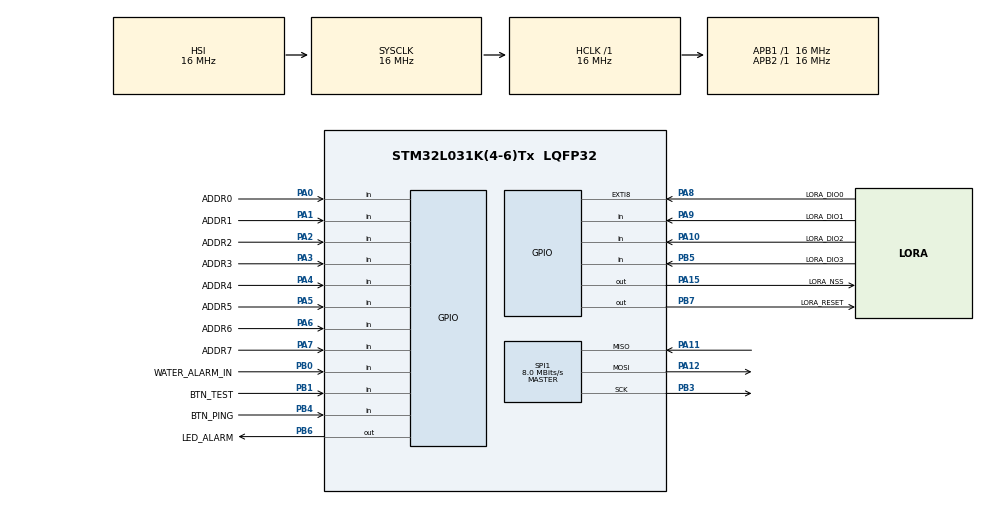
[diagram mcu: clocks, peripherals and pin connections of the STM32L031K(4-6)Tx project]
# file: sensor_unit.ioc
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Mcu.Family=STM32L0
Mcu.Name=STM32L031K(4-6)Tx
Mcu.Package=LQFP32
NVIC.EXTI4_15_IRQn=true\:0\:0\:false\:false\:true\:true\:true\:true
PA0-CK_IN.GPIO_Label=ADDR0
PA0-CK_IN.GPIO_PuPd=GPIO_PULLUP
PA0-CK_IN.Signal=GPIO_Input
PA1.GPIO_Label=ADDR1
PA1.GPIO_PuPd=GPIO_PULLUP
PA1.Signal=GPIO_Input
PA10.GPIO_Label=LORA_DIO2
PA10.Signal=GPIO_Input
PA11.GPIO_PuPd=GPIO_PULLUP
PA11.GPIO_Speed=GPIO_SPEED_FREQ_HIGH
PA11.Mode=Full_Duplex_Master
PA11.Signal=SPI1_MISO
PA12.GPIO_Speed=GPIO_SPEED_FREQ_HIGH
PA12.Mode=Full_Duplex_Master
PA12.Signal=SPI1_MOSI
PA13.Mode=Serial_Wire
PA13.Signal=SYS_SWDIO
PA14.Mode=Serial_Wire
PA14.Signal=SYS_SWCLK
PA15.GPIO_Label=LORA_NSS
PA15.GPIO_PuPd=GPIO_PULLUP
PA15.PinState=GPIO_PIN_SET
PA15.Signal=GPIO_Output
PA2.GPIO_Label=ADDR2
PA2.GPIO_PuPd=GPIO_PULLUP
PA2.Signal=GPIO_Input
PA3.GPIO_Label=ADDR3
PA3.GPIO_PuPd=GPIO_PULLUP
PA3.Signal=GPIO_Input
PA4.GPIO_Label=ADDR4
PA4.GPIO_PuPd=GPIO_PULLUP
PA4.Signal=GPIO_Input
PA5.GPIO_Label=ADDR5
PA5.GPIO_PuPd=GPIO_PULLUP
PA5.Signal=GPIO_Input
PA6.GPIO_Label=ADDR6
PA6.GPIO_PuPd=GPIO_PULLUP
PA6.Signal=GPIO_Input
PA7.GPIO_Label=ADDR7
PA7.GPIO_PuPd=GPIO_PULLUP
PA7.Signal=GPIO_Input
PA8.GPIO_Label=LORA_DIO0
PA8.Signal=GPXTI8
PA9.GPIO_Label=LORA_DIO1
PA9.Signal=GPIO_Input
PB0.GPIO_Label=WATER_ALARM_IN
PB0.Signal=GPIO_Input
PB1.GPIO_Label=BTN_TEST
PB1.GPIO_PuPd=GPIO_PULLUP
PB1.Signal=GPIO_Input
PB3.GPIO_Speed=GPIO_SPEED_FREQ_HIGH
PB3.Mode=Full_Duplex_Master
PB3.Signal=SPI1_SCK
PB4.GPIO_Label=BTN_PING
PB4.GPIO_PuPd=GPIO_PULLUP
PB4.Signal=GPIO_Input
PB5.GPIO_Label=LORA_DIO3
PB5.Signal=GPIO_Input
PB6.GPIO_Label=LED_ALARM
PB6.Signal=GPIO_Output
PB7.GPIO_Label=LORA_RESET
PB7.PinState=GPIO_PIN_SET
PB7.Signal=GPIO_Output
PC14-OSC32_IN.Mode=LSE-External-Oscillator
PC14-OSC32_IN.Signal=RCC_OSC32_IN
PC15-OSC32_OUT.Mode=LSE-External-Oscillator
PC15-OSC32_OUT.Signal=RCC_OSC32_OUT
ProjectManager.HeapSize=0x200
ProjectManager.StackSize=0x400
ProjectManager.TargetToolchain=STM32CubeIDE
RCC.AHBFreq_Value=16000000
RCC.APB1Freq_Value=16000000
RCC.APB1TimFreq_Value=16000000
RCC.APB2Freq_Value=16000000
RCC.APB2TimFreq_Value=16000000
RCC.HCLKFreq_Value=16000000
RCC.HSE_VALUE=8000000
RCC.HSI16_VALUE=16000000
RCC.HSI_VALUE=16000000
RCC.LptimClockSelection=RCC_LPTIM1CLKSOURCE_LSE
RCC.MSI_VALUE=2097000
RCC.PLLMUL=RCC_PLLMUL_8
RCC.SYSCLKFreq_VALUE=16000000
RCC.SYSCLKSource=RCC_SYSCLKSOURCE_HSI
RCC.VCOOutputFreq_Value=128000000
SPI1.CalculateBaudRate=8.0 MBits/s
SPI1.Direction=SPI_DIRECTION_2LINES
SPI1.Mode=SPI_MODE_MASTER
SPI1.VirtualType=VM_MASTER
VP_ADC_Vref_Input.Mode=IN-Vrefint
VP_LPTIM1_VS_LPTIM_counterModeInternalClock.Mode=Counts__internal_clock_event_00
board=custom

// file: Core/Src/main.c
/* USER CODE BEGIN Header */
/**
  ******************************************************************************
  * @file           : main.c
  * @brief          : Main program body
  ******************************************************************************
  * @attention
  *
  * Copyright (c) 2024 STMicroelectronics.
  * All rights reserved.
  *
  * This software is licensed under terms that can be found in the LICENSE file
  * in the root directory of this software component.
  * If no LICENSE file comes with this software, it is provided AS-IS.
  *
  ******************************************************************************
  */
/* USER CODE END Header */
#include "main.h"
#include "adc.h"
#include "lptim.h"
#include "spi.h"
#include "gpio.h"

/* USER CODE BEGIN Includes */
#include <stdio.h>
#include "SX1278.h"
/* USER CODE END Includes */

/* USER CODE BEGIN PV */
SX1278_hw_t SX1278_hw;
SX1278_t SX1278;

uint8_t master = 1;
int ret;

char buffer[512];

int message;
int message_length;
/* USER CODE END PV */

void SystemClock_Config(void);

int main(void)
{

  /* MCU Configuration--------------------------------------------------------*/

  /* Reset of all peripherals, Initializes the Flash interface and the Systick. */
  HAL_Init();

  /* Configure the system clock */
  SystemClock_Config();

  /* Initialize all configured peripherals */
  MX_GPIO_Init();
  MX_ADC_Init();
  MX_LPTIM1_Init();
  MX_SPI1_Init();
  /* USER CODE BEGIN 2 */
  //initialize LoRa module
  SX1278_hw.dio0.port = LORA_DIO0_GPIO_Port;
  SX1278_hw.dio0.pin = LORA_DIO0_Pin;
  SX1278_hw.nss.port = LORA_NSS_GPIO_Port;
  SX1278_hw.nss.pin = LORA_NSS_Pin;
  SX1278_hw.reset.port = LORA_RESET_GPIO_Port;
  SX1278_hw.reset.pin = LORA_RESET_Pin;
  SX1278_hw.spi = &hspi1;

  SX1278.hw = &SX1278_hw;

  printf("Configuring LoRa module\r\n");
  SX1278_init(&SX1278, SX1278_FREQ_433MHz, SX1278_POWER_20DBM, SX1278_LORA_SF_7,
              SX1278_LORA_BW_125KHZ, SX1278_LORA_CR_4_5, SX1278_LORA_CRC_DIS, 8, SX127X_SYNC_WORD);
  printf("Done configuring LoRaModule\r\n");

  if (master == 1)
  {
    SX1278_LoRaEntryTx(&SX1278, 16, 2000);
  }
  else
  {
    SX1278_LoRaEntryRx(&SX1278, 16, 2000);
  }
  /* USER CODE END 2 */

  /* Infinite loop */
  /* USER CODE BEGIN WHILE */
  while (1)
  {
    HAL_GPIO_TogglePin(LED_ALARM_GPIO_Port, LED_ALARM_Pin);
    HAL_Delay(1000);

    if (master == 1)
    {
      printf("Master ...\r\n");
      HAL_Delay(1000);
      printf("Sending package...\r\n");

      message_length = sprintf(buffer, "Hello %d", message);
      ret = SX1278_LoRaEntryTx(&SX1278, message_length, 2000);
      printf("Entry: %d\r\n", ret);

      printf("Sending %s\r\n", buffer);
      ret = SX1278_LoRaTxPacket(&SX1278, (uint8_t*) buffer, message_length, 2000);
      message += 1;

      printf("Transmission: %d\r\n", ret);
      printf("Package sent...\r\n");
    }
    else
    {
      printf("Slave ...\r\n");
      HAL_Delay(800);
      printf("Receiving package...\r\n");

      ret = SX1278_LoRaRxPacket(&SX1278);
      printf("Received: %d\r\n", ret);
      if (ret > 0) {
        SX1278_read(&SX1278, (uint8_t*) buffer, ret);
        printf("Content (%d): %s\r\n", ret, buffer);
      }
      printf("Package received ...\r\n");
    }
    /* USER CODE END WHILE */

  }
}

void SystemClock_Config(void)
{
  RCC_OscInitTypeDef RCC_OscInitStruct = {0};
  RCC_ClkInitTypeDef RCC_ClkInitStruct = {0};
  RCC_PeriphCLKInitTypeDef PeriphClkInit = {0};

  /** Configure the main internal regulator output voltage
  */
  __HAL_PWR_VOLTAGESCALING_CONFIG(PWR_REGULATOR_VOLTAGE_SCALE1);

  /** Configure LSE Drive Capability
  */
  HAL_PWR_EnableBkUpAccess();
  __HAL_RCC_LSEDRIVE_CONFIG(RCC_LSEDRIVE_LOW);

  /** Initializes the RCC Oscillators according to the specified parameters
  * in the RCC_OscInitTypeDef structure.
  */
  RCC_OscInitStruct.OscillatorType = RCC_OSCILLATORTYPE_HSI|RCC_OSCILLATORTYPE_LSE;
  RCC_OscInitStruct.LSEState = RCC_LSE_ON;
  RCC_OscInitStruct.HSIState = RCC_HSI_ON;
  RCC_OscInitStruct.HSICalibrationValue = RCC_HSICALIBRATION_DEFAULT;
  RCC_OscInitStruct.PLL.PLLState = RCC_PLL_NONE;
  if (HAL_RCC_OscConfig(&RCC_OscInitStruct) != HAL_OK)
  {
    Error_Handler();
  }

  /** Initializes the CPU, AHB and APB buses clocks
  */
  RCC_ClkInitStruct.ClockType = RCC_CLOCKTYPE_HCLK|RCC_CLOCKTYPE_SYSCLK
                              |RCC_CLOCKTYPE_PCLK1|RCC_CLOCKTYPE_PCLK2;
  RCC_ClkInitStruct.SYSCLKSource = RCC_SYSCLKSOURCE_HSI;
  RCC_ClkInitStruct.AHBCLKDivider = RCC_SYSCLK_DIV1;
  RCC_ClkInitStruct.APB1CLKDivider = RCC_HCLK_DIV1;
  RCC_ClkInitStruct.APB2CLKDivider = RCC_HCLK_DIV1;

  if (HAL_RCC_ClockConfig(&RCC_ClkInitStruct, FLASH_LATENCY_0) != HAL_OK)
  {
    Error_Handler();
  }
  PeriphClkInit.PeriphClockSelection = RCC_PERIPHCLK_LPTIM1;
  PeriphClkInit.LptimClockSelection = RCC_LPTIM1CLKSOURCE_LSE;

  if (HAL_RCCEx_PeriphCLKConfig(&PeriphClkInit) != HAL_OK)
  {
    Error_Handler();
  }
}

void Error_Handler(void)
{
  __disable_irq();
  while (1)
  {
  }
}
